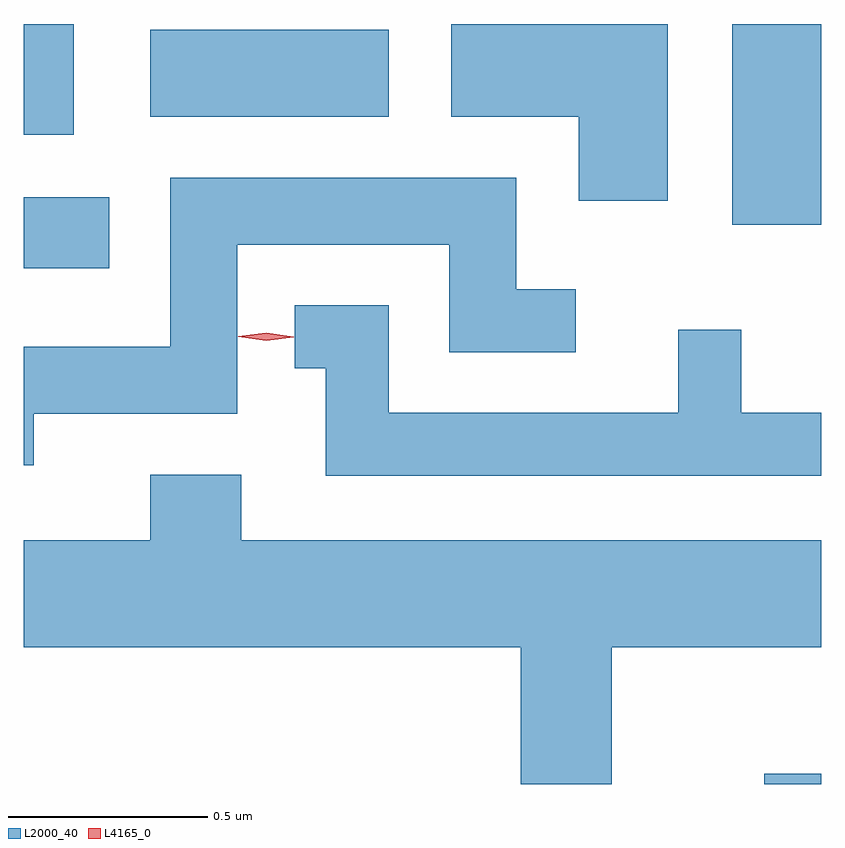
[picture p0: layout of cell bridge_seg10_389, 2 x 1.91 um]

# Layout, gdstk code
import gdstk
lib = gdstk.Library(unit=1e-6, precision=1e-09)
def R(c, l, rs):  # rectangles x0, y0, x1, y1
    for r in rs: c.add(gdstk.rectangle(r[:2], r[2:], *l))
def P(c, l, *ps):  # polygons
    for p in ps: c.add(gdstk.Polygon(p, *l))
L2000_40 = (2000, 40)
L4165_0 = (4165, 0)

bridge_seg10_389 = lib.new_cell('bridge_seg10_389')
R(bridge_seg10_389, L2000_40, [(1062.981,2095.813,1063.124,2095.839), (1061.124,2097.106,1061.339,2097.284), (1062.901,2097.216,1063.124,2097.719), (1061.124,2097.441,1061.249,2097.719), (1061.441,2097.486,1062.039,2097.704)])
P(bridge_seg10_389, L2000_40, [(1062.739,2097.719),(1062.196,2097.719),(1062.196,2097.486),(1062.516,2097.486),(1062.516,2097.276),(1062.739,2097.276)],
  [(1061.149,2096.741),(1061.659,2096.741),(1061.659,2097.166),(1062.191,2097.166),(1062.191,2096.896),(1062.508,2096.896),(1062.508,2097.054),(1062.359,2097.054),(1062.359,2097.334),(1061.491,2097.334),(1061.491,2096.909),(1061.124,2096.909),(1061.124,2096.613),(1061.149,2096.613)],
  [(1063.124,2096.744),(1062.924,2096.744),(1062.924,2096.952),(1062.766,2096.952),(1062.766,2096.744),(1062.039,2096.744),(1062.039,2097.014),(1061.803,2097.014),(1061.803,2096.856),(1061.881,2096.856),(1061.881,2096.586),(1063.124,2096.586)],
  [(1062.599,2096.156),(1063.124,2096.156),(1063.124,2096.424),(1061.669,2096.424),(1061.669,2096.589),(1061.441,2096.589),(1061.441,2096.424),(1061.124,2096.424),(1061.124,2096.156),(1062.371,2096.156),(1062.371,2095.813),(1062.599,2095.813)])
P(bridge_seg10_389, L4165_0, [(1061.732,2096.925),(1061.662,2096.935),(1061.662,2096.935),(1061.662,2096.936),(1061.732,2096.945),(1061.801,2096.935),(1061.801,2096.935),(1061.801,2096.934)])

lib.write_gds('bridge_seg10_389.gds')
